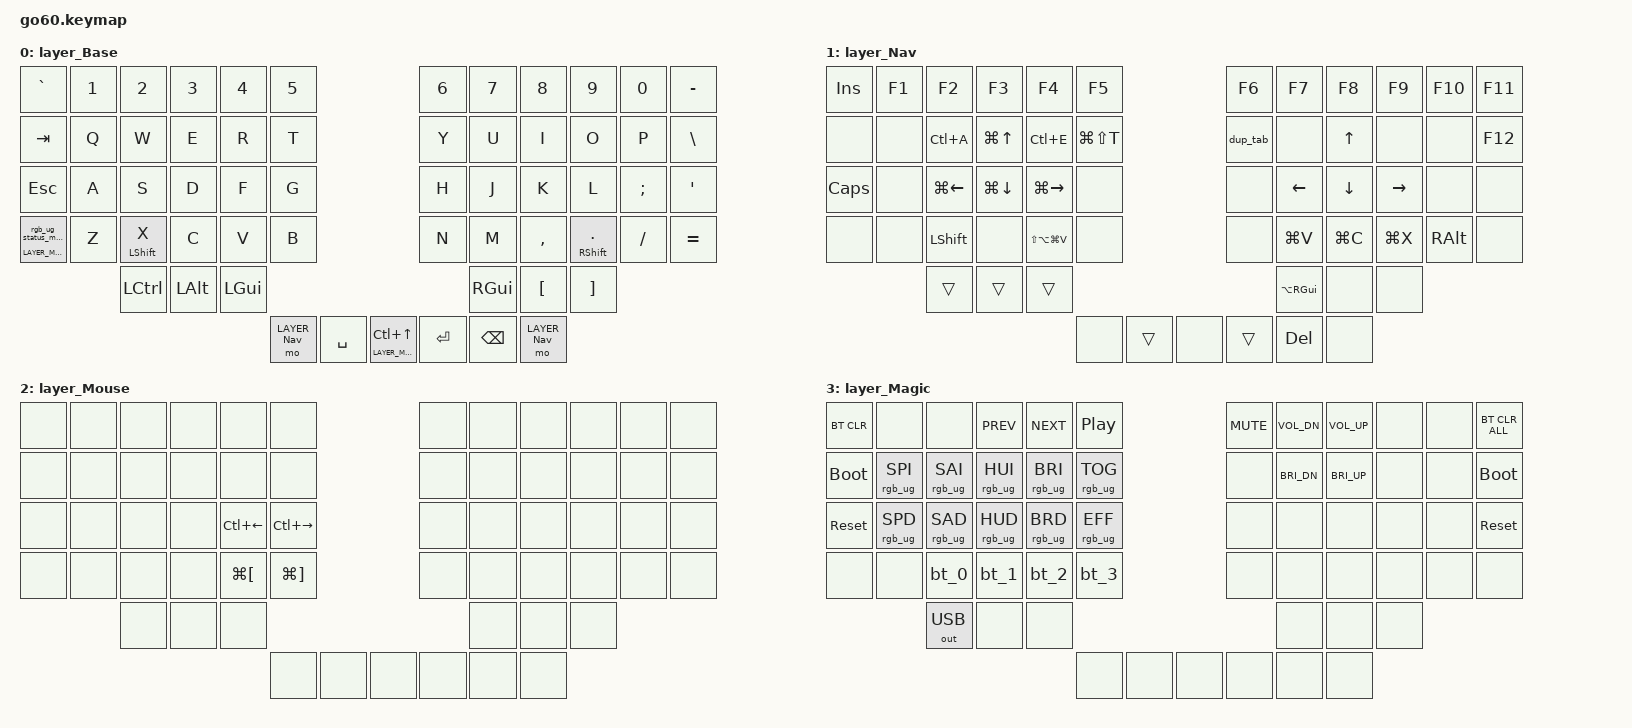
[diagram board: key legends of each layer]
/*
 * Copyright (c) 2020 The ZMK Contributors
 * Copyright (c) 2025 Innaworks Development Limited, trading as MoErgo
 *
 * SPDX-License-Identifier: MIT
 */


/* THIS FILE WAS GENERATED BY GO60 LAYOUT EDITOR
 *
 * This file was generated automatically. You may or may not want to
 * edit it directly.
 */

#include <behaviors.dtsi>

/* Include all behavior includes needed */

#include <dt-bindings/zmk/outputs.h>
#include <dt-bindings/zmk/keys.h>
#include <dt-bindings/zmk/bt.h>
#include <dt-bindings/zmk/rgb.h>

#include <input/processors.dtsi>
#include <dt-bindings/zmk/input_transform.h>
#include <zephyr/dt-bindings/input/input-event-codes.h>

/* On demand includes */
#include <dt-bindings/zmk/input_transform.h>
#include <dt-bindings/zmk/pointing.h>
#include <input/processors.dtsi>

/* Helper Macros, based on https://github.com/urob/zmk-helpers/ */

#pragma once

#define ZMK_HELPER_STRINGIFY(x) #x

// Preprocessor mechanism to overload macros, cf. https://stackoverflow.com/a/27051616/6114651
#define VARGS_(_10, _9, _8, _7, _6, _5, _4, _3, _2, _1, N, ...) N
#define VARGS(...) VARGS_(__VA_ARGS__, 10, 9, 8, 7, 6, 5, 4, 3, 2, 1, 0)
#define CONCAT_(a, b) a##b
#define CONCAT(a, b) CONCAT_(a, b)

#define ZMK_BEHAVIOR_CORE_tap_dance  \
    compatible = "zmk,behavior-tap-dance"; \
    #binding-cells = <0>

#define ZMK_BEHAVIOR(name, type, ...) \
    name: name { \
        ZMK_BEHAVIOR_CORE_ ## type; \
        __VA_ARGS__ \
    };

#define ZMK_TAP_DANCE(name, ...) \
    ZMK_BEHAVIOR(name, tap_dance, __VA_ARGS__)

#define ZMK_TD_LAYER(name, layer) \
    ZMK_TAP_DANCE(name, \
        tapping-term-ms = <200>; \
        bindings = <&mo layer>, <&to layer>; \
)





/* Key positions */

#define POS_LH_C6R1 0
#define POS_LH_C5R1 1
#define POS_LH_C4R1 2
#define POS_LH_C3R1 3
#define POS_LH_C2R1 4
#define POS_LH_C1R1 5
#define POS_RH_C1R1 6
#define POS_RH_C2R1 7
#define POS_RH_C3R1 8
#define POS_RH_C4R1 9
#define POS_RH_C5R1 10
#define POS_RH_C6R1 11
#define POS_LH_C6R2 12
#define POS_LH_C5R2 13
#define POS_LH_C4R2 14
#define POS_LH_C3R2 15
#define POS_LH_C2R2 16
#define POS_LH_C1R2 17
#define POS_RH_C1R2 18
#define POS_RH_C2R2 19
#define POS_RH_C3R2 20
#define POS_RH_C4R2 21
#define POS_RH_C5R2 22
#define POS_RH_C6R2 23
#define POS_LH_C6R3 24
#define POS_LH_C5R3 25
#define POS_LH_C4R3 26
#define POS_LH_C3R3 27
#define POS_LH_C2R3 28
#define POS_LH_C1R3 29
#define POS_RH_C1R3 30
#define POS_RH_C2R3 31
#define POS_RH_C3R3 32
#define POS_RH_C4R3 33
#define POS_RH_C5R3 34
#define POS_RH_C6R3 35
#define POS_LH_C6R4 36
#define POS_LH_C5R4 37
#define POS_LH_C4R4 38
#define POS_LH_C3R4 39
#define POS_LH_C2R4 40
#define POS_LH_C1R4 41
#define POS_RH_C1R4 42
#define POS_RH_C2R4 43
#define POS_RH_C3R4 44
#define POS_RH_C4R4 45
#define POS_RH_C5R4 46
#define POS_RH_C6R4 47
#define POS_LH_C4R5 48
#define POS_LH_C3R5 49
#define POS_LH_C2R5 50
#define POS_RH_C2R5 51
#define POS_RH_C3R5 52
#define POS_RH_C4R5 53
#define POS_LH_T1 54
#define POS_LH_T2 55
#define POS_LH_T3 56
#define POS_RH_T3 57
#define POS_RH_T2 58
#define POS_RH_T1 59


#define LEFT_HAND_KEYS \
  POS_LH_C1R1 POS_LH_C2R1 POS_LH_C3R1 POS_LH_C4R1 POS_LH_C5R1 POS_LH_C6R1 \
  POS_LH_C1R2 POS_LH_C2R2 POS_LH_C3R2 POS_LH_C4R2 POS_LH_C5R2 POS_LH_C6R2 \
  POS_LH_C1R3 POS_LH_C2R3 POS_LH_C3R3 POS_LH_C4R3 POS_LH_C5R3 POS_LH_C6R3 \
  POS_LH_C1R4 POS_LH_C2R4 POS_LH_C3R4 POS_LH_C4R4 POS_LH_C5R4 POS_LH_C6R4 \
              POS_LH_C2R5 POS_LH_C3R5 POS_LH_C4R5

#define RIGHT_HAND_KEYS \
  POS_RH_C1R1 POS_RH_C2R1 POS_RH_C3R1 POS_RH_C4R1 POS_RH_C5R1 POS_RH_C6R1 \
  POS_RH_C1R2 POS_RH_C2R2 POS_RH_C3R2 POS_RH_C4R2 POS_RH_C5R2 POS_RH_C6R2 \
  POS_RH_C1R3 POS_RH_C2R3 POS_RH_C3R3 POS_RH_C4R3 POS_RH_C5R3 POS_RH_C6R3 \
  POS_RH_C1R4 POS_RH_C2R4 POS_RH_C3R4 POS_RH_C4R4 POS_RH_C5R4 POS_RH_C6R4 \
              POS_RH_C2R5 POS_RH_C3R5 POS_RH_C4R5

#define THUMB_KEYS \
  POS_LH_T1 POS_LH_T2 POS_LH_T3 \
  POS_RH_T1 POS_RH_T2 POS_RH_T3

/* Environment and metadata defines */
#define KB_TYPE_GLOVE_80 1
#define KB_TYPE_GO_60    2

#define KB_TYPE          KB_TYPE_GO_60
#define EDITOR_HOST_OS   'M'

/* Automatically generated layer name defines */
#define LAYER_Base 0
#define LAYER_Nav 1
#define LAYER_Mouse 2
#define LAYER_Magic 3

/* To deal with the situation where there is no Lower layer, to keep &lower happy */
#ifndef LAYER_Lower
#define LAYER_Lower 0
#endif

/* Generated input processors */
/ {
    input_processors {
        zip_click_to_right_click_mapper: zip_click_to_right_click_mapper {
            compatible = "zmk,input-processor-code-mapper";
            #input-processor-cells = <0>;
            type = <INPUT_EV_KEY>;
            map = <INPUT_BTN_0 INPUT_BTN_1>;
        };
    };
};

/* Custom Device-tree */


/* Input Listeners */
&cirque_rh_listener {
    input-processors = <&zip_xy_scaler 9 13>, <&zip_xy_transform INPUT_TRANSFORM_Y_INVERT>, <&zip_xy_to_scroll_mapper>, <&zip_click_to_right_click_mapper>, <&zip_scroll_scaler 1 8>;
};

&cirque_lh_listener {
    input-processors = <&zip_xy_scaler 12 7>, <&zip_click_to_right_click_mapper>;
    layer_2 {
        layers = <LAYER_Mouse>;
        input-processors = <&zip_xy_scaler 9 13>, <&zip_xy_transform INPUT_TRANSFORM_Y_INVERT>, <&zip_xy_to_scroll_mapper>, <&zip_scroll_scaler 1 8>;
    };
};

/* System behavior and macros */
/ {
    behaviors {
        ZMK_TD_LAYER(lower, LAYER_Lower)
    };
};

/ {
    macros {
        rgb_ug_status_macro: rgb_ug_status_macro {
            label = "RGB_UG_STATUS";
            compatible = "zmk,behavior-macro";
            #binding-cells = <0>;
            bindings
                = <&rgb_ug RGB_STATUS>;
        };
    };
};

/ {
#ifdef BT_DISC_CMD
    behaviors {
        bt_0: bt_0 {
            compatible = "zmk,behavior-tap-dance";
            label = "BT_0";
            #binding-cells = <0>;
            tapping-term-ms = <200>;
            bindings = <&bt_select_0>, <&bt BT_DISC 0>;
        };
        bt_1: bt_1 {
            compatible = "zmk,behavior-tap-dance";
            label = "BT_1";
            #binding-cells = <0>;
            tapping-term-ms = <200>;
            bindings = <&bt_select_1>, <&bt BT_DISC 1>;
        };
        bt_2: bt_2 {
            compatible = "zmk,behavior-tap-dance";
            label = "BT_2";
            #binding-cells = <0>;
            tapping-term-ms = <200>;
            bindings = <&bt_select_2>, <&bt BT_DISC 2>;
        };
        bt_3: bt_3 {
            compatible = "zmk,behavior-tap-dance";
            label = "BT_3";
            #binding-cells = <0>;
            tapping-term-ms = <200>;
            bindings = <&bt_select_3>, <&bt BT_DISC 3>;
        };
    };
    macros {
        bt_select_0: bt_select_0 {
            label = "BT_SELECT_0";
            compatible = "zmk,behavior-macro";
            #binding-cells = <0>;
            bindings
                = <&out OUT_BLE>,
                  <&bt BT_SEL 0>;
        };
        bt_select_1: bt_select_1 {
            label = "BT_SELECT_1";
            compatible = "zmk,behavior-macro";
            #binding-cells = <0>;
            bindings
                = <&out OUT_BLE>,
                  <&bt BT_SEL 1>;
        };
        bt_select_2: bt_select_2 {
            label = "BT_SELECT_2";
            compatible = "zmk,behavior-macro";
            #binding-cells = <0>;
            bindings
                = <&out OUT_BLE>,
                  <&bt BT_SEL 2>;
        };
        bt_select_3: bt_select_3 {
            label = "BT_SELECT_3";
            compatible = "zmk,behavior-macro";
            #binding-cells = <0>;
            bindings
                = <&out OUT_BLE>,
                  <&bt BT_SEL 3>;
        };
    };
#else
    macros {
        bt_0: bt_0 {
            label = "BT_0";
            compatible = "zmk,behavior-macro";
            #binding-cells = <0>;
            bindings
                = <&out OUT_BLE>,
                  <&bt BT_SEL 0>;
        };
        bt_1: bt_1 {
            label = "BT_1";
            compatible = "zmk,behavior-macro";
            #binding-cells = <0>;
            bindings
                = <&out OUT_BLE>,
                  <&bt BT_SEL 1>;
        };
        bt_2: bt_2 {
            label = "BT_2";
            compatible = "zmk,behavior-macro";
            #binding-cells = <0>;
            bindings
                = <&out OUT_BLE>,
                  <&bt BT_SEL 2>;
        };
        bt_3: bt_3 {
            label = "BT_3";
            compatible = "zmk,behavior-macro";
            #binding-cells = <0>;
            bindings
                = <&out OUT_BLE>,
                  <&bt BT_SEL 3>;
        };
    };
#endif
};

/ {
    behaviors {
        magic: magic {
            compatible = "zmk,behavior-hold-tap";
            label = "MAGIC_HOLD_TAP";
            #binding-cells = <2>;
            flavor = "tap-preferred";
            tapping-term-ms = <200>;
            bindings = <&mo>, <&rgb_ug_status_macro>;
        };
    };
};


/* Custom Defined Behaviors */
/ {

};

/* Automatically generated macro definitions */
/ {
    macros {

        // Duplicate Tab
        dup_tab: dup_tab {
            label = "&DUP_TAB";
            compatible = "zmk,behavior-macro";
            #binding-cells = <0>;
            bindings = <&kp LG(L)>
                , <&kp LG(RET)>;
        };
    };
};

/* Automatically generated behavior definitions */
/ {
    behaviors {


        shift_left: shift_left {
            compatible = "zmk,behavior-hold-tap";
            #binding-cells = <2>;
            tapping-term-ms = <200>;
            bindings = <&kp>, <&kp>;
            require-prior-idle-ms = <300>;
            include-prior-idle-key-positions = <POS_LH_C5R3 POS_RH_C1R2 POS_RH_C3R2 POS_RH_C5R2>;
            cancel-prior-idle-key-positions = <POS_LH_C4R5 POS_LH_C3R5 POS_LH_C2R5 POS_LH_T2 POS_LH_C5R4 POS_LH_C4R4 POS_LH_C3R4 POS_LH_C2R4 POS_LH_C1R4 POS_LH_C4R3 POS_LH_C3R3 POS_LH_C2R3 POS_LH_C1R3 POS_LH_C5R2 POS_LH_C4R2 POS_LH_C2R2 POS_LH_C1R2 POS_RH_T3 POS_RH_T2 POS_RH_C3R5 POS_RH_C2R5 POS_RH_C1R4 POS_RH_C2R4 POS_RH_C4R4 POS_RH_C1R3 POS_RH_C2R3 POS_RH_C3R3 POS_RH_C4R3 POS_RH_C6R3 POS_RH_C1R2 POS_RH_C5R2 POS_RH_C3R1 POS_RH_C4R1>;
            hold-trigger-key-positions = <POS_RH_C1R1 POS_RH_C1R2 POS_RH_C1R3 POS_RH_C1R4 POS_RH_C2R4 POS_RH_C2R3 POS_RH_C2R2 POS_RH_C2R1 POS_RH_C3R1 POS_RH_C4R1 POS_RH_C4R2 POS_RH_C3R3 POS_RH_C3R4 POS_RH_C3R5 POS_RH_C4R5 POS_RH_C4R4 POS_RH_C4R3 POS_RH_C5R1 POS_RH_C5R3 POS_RH_C5R4 POS_RH_C6R4 POS_RH_C6R3 POS_RH_C6R2 POS_RH_C6R1 POS_RH_T3 POS_RH_C3R2 POS_RH_C5R2 POS_LH_C5R4 POS_LH_C5R2 POS_LH_C2R3 POS_LH_C1R3 POS_LH_C6R2 POS_LH_C5R3 POS_LH_C2R1>;
        };

        shift_right: shift_right {
            compatible = "zmk,behavior-hold-tap";
            #binding-cells = <2>;
            tapping-term-ms = <200>;
            bindings = <&kp>, <&kp>;
            hold-trigger-key-positions = <POS_LH_C1R1 POS_LH_C2R1 POS_LH_C3R1 POS_LH_C4R1 POS_LH_C5R1 POS_LH_C6R1 POS_LH_C5R4 POS_LH_C5R3 POS_LH_C5R2 POS_LH_C4R2 POS_LH_C4R3 POS_LH_C4R4 POS_LH_C4R5 POS_LH_C3R4 POS_LH_C3R3 POS_LH_C3R2 POS_LH_C2R2 POS_LH_C1R2 POS_LH_C1R3 POS_LH_C2R3 POS_LH_C2R4 POS_LH_C1R4 POS_LH_C6R2>;
        };
    };
};

/* Automatically generated combos definitions */


/* Automatically generated keymap */
/ {
    keymap {
        compatible = "zmk,keymap";


        layer_Base {
            bindings = <
            &kp GRAVE  &kp N1               &kp N2    &kp N3    &kp N4  &kp N5                                                                                      &kp N6    &kp N7     &kp N8                  &kp N9    &kp N0  &kp MINUS
              &kp TAB   &kp Q                &kp W     &kp E     &kp R   &kp T                                                                                       &kp Y     &kp U      &kp I                   &kp O     &kp P   &kp BSLH
              &kp ESC   &kp A                &kp S     &kp D     &kp F   &kp G                                                                                       &kp H     &kp J      &kp K                   &kp L  &kp SEMI    &kp SQT
 &magic LAYER_Magic 0   &kp Z  &shift_left LSHFT X     &kp C     &kp V   &kp B                                                                                       &kp N     &kp M  &kp COMMA  &shift_right RSHFT DOT  &kp FSLH  &kp EQUAL
                                         &kp LCTRL  &kp LALT  &kp LGUI                                                                                                      &kp RGUI   &kp LBKT                &kp RBKT
                                                                                &mo LAYER_Nav  &kp SPACE  &lt LAYER_Mouse LC(UP)  &kp RET  &kp BSPC  &mo LAYER_Nav
            >;
        };

        layer_Nav {
            bindings = <
  &kp INS  &kp F1        &kp F2        &kp F3             &kp F4         &kp F5                                                     &kp F6        &kp F7     &kp F8     &kp F9   &kp F10  &kp F11
    &none   &none     &kp LC(A)    &kp LG(UP)          &kp LC(E)  &kp LG(LS(T))                                                   &dup_tab         &none     &kp UP      &none     &none  &kp F12
 &kp CAPS   &none  &kp LG(LEFT)  &kp LG(DOWN)      &kp LG(RIGHT)          &none                                                      &none      &kp LEFT   &kp DOWN  &kp RIGHT     &none    &none
    &none   &none     &kp LSHFT         &none  &kp LS(LA(LG(V)))          &none                                                      &none     &kp LG(V)  &kp LG(C)  &kp LG(X)  &kp RALT    &none
                         &trans        &trans             &trans                                                                            &kp LA(RGUI)      &none      &none
                                                                                  &none  &trans   &none  &trans  &kp DEL   &none
            >;
        };

        layer_Mouse {
            bindings = <
  &none   &none   &none   &none         &none          &none                                                   &none   &none   &none   &none   &none   &none
  &none   &none   &none   &none         &none          &none                                                   &none   &none   &none   &none   &none   &none
  &none   &none   &none   &none  &kp LC(LEFT)  &kp LC(RIGHT)                                                   &none   &none   &none   &none   &none   &none
  &none   &none   &none   &none  &kp LG(LBKT)   &kp LG(RBKT)                                                   &none   &none   &none   &none   &none   &none
                  &none   &none         &none                                                                          &none   &none   &none
                                                               &none   &none   &none   &none   &none   &none
            >;
        };

        layer_Magic {
            bindings = <
  &bt BT_CLR            &none            &none       &kp C_PREV       &kp C_NEXT         &kp C_PP                                                  &kp C_MUTE  &kp C_VOL_DN  &kp C_VOL_UP   &none   &none  &bt BT_CLR_ALL
 &bootloader  &rgb_ug RGB_SPI  &rgb_ug RGB_SAI  &rgb_ug RGB_HUI  &rgb_ug RGB_BRI  &rgb_ug RGB_TOG                                                       &none  &kp C_BRI_DN  &kp C_BRI_UP   &none   &none     &bootloader
  &sys_reset  &rgb_ug RGB_SPD  &rgb_ug RGB_SAD  &rgb_ug RGB_HUD  &rgb_ug RGB_BRD  &rgb_ug RGB_EFF                                                       &none         &none         &none   &none   &none      &sys_reset
       &none            &none            &bt_0            &bt_1            &bt_2            &bt_3                                                       &none         &none         &none   &none   &none           &none
                                  &out OUT_USB            &none            &none                                                                                      &none         &none   &none
                                                                                                    &none   &none   &none   &none   &none   &none
            >;
        };

    };
};
